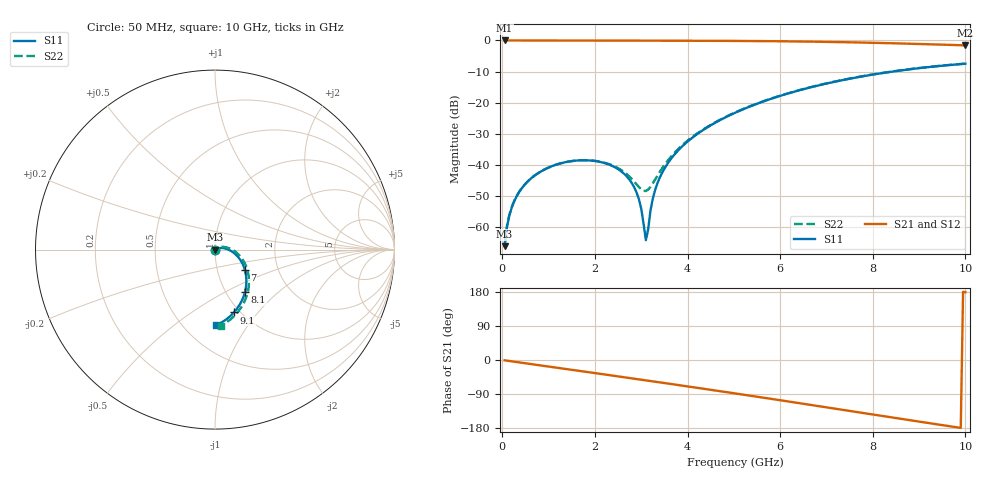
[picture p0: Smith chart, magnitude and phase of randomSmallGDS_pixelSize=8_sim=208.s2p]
! freq	dB(S11)	phase(S11)	dB(S12)	phase(S12)
!  dB(S21)	phase(S21)	dB(S22)	phase(S22)
!S-par simulation data
#  GHz  S  DB  R 50
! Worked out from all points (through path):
!   200 points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, 50 MHz to 10 GHz, reference 50 ohm
!   highest |S21| = 0.00 dB at 50 MHz (marker M1); lowest = -1.6 dB at 10 GHz (marker M2)
!   group delay of S21, straight-line fit = 50.5 ps
!   lowest |S11| = -66.2 dB at 50 MHz (marker M3), VSWR 1.00, Z = 50 - j0.049 ohm
!   |S11| at or under -10 dB: start of sweep to 8.432 GHz
!   |S22| runs from -65.7 to -7.4 dB; largest |S21 - S12| = 0
!   S11 on the Smith chart (normalised r, x): 50 MHz: 1.00, -0.00; 7 GHz: 1.36, -0.32; 8.1 GHz: 1.22, -0.63; 9.1 GHz: 0.94, -0.76; 10 GHz: 0.70, -0.72
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0.05  -66.20 -88.4  -0.00 -0.9  -0.00 -0.9  -65.68 -88.0
0.1  -60.08 -91.4  -0.00 -1.7  -0.00 -1.7  -59.70 -90.9
0.2  -53.97 -93.9  -0.00 -3.5  -0.00 -3.5  -53.77 -93.9
0.5  -46.15 -99.3  -0.01 -8.7  -0.01 -8.7  -46.10 -100.3
1.05  -40.58 -109.2  -0.02 -18.2  -0.02 -18.2  -40.57 -111.6
1.75  -38.55 -121.9  -0.03 -30.2  -0.03 -30.2  -38.52 -127.1
2.35  -40.22 -133.1  -0.04 -40.6  -0.04 -40.6  -40.03 -144.4
2.75  -44.88 -141.7  -0.05 -47.6  -0.05 -47.6  -43.88 -166.3
2.95  -51.09 -149.2  -0.06 -51.1  -0.06 -51.1  -47.17 166.5
3  -54.11 -153.6  -0.06 -52.0  -0.06 -52.0  -47.91 155.2
3.1  -64.28 133.9  -0.06 -53.7  -0.06 -53.7  -48.44 127.2
3.25  -50.89 40.8  -0.06 -56.3  -0.06 -56.3  -45.98 88.1
3.4  -44.15 33.9  -0.07 -59.0  -0.07 -59.0  -42.29 65.9
3.65  -37.95 27.8  -0.08 -63.4  -0.08 -63.4  -37.26 47.8
4  -32.55 20.9  -0.09 -69.6  -0.09 -69.6  -32.24 34.2
5.05  -23.11 1.5  -0.15 -88.6  -0.15 -88.6  -23.01 8.8
6.7  -14.92 -28.9  -0.39 -119.2  -0.39 -119.2  -14.87 -24.1
7  -13.87 -34.5  -0.45 -124.9  -0.45 -124.9  -13.81 -29.8
8.1  -10.74 -54.9  -0.78 -145.7  -0.78 -145.7  -10.69 -50.7
8.35  -10.18 -59.6  -0.87 -150.4  -0.87 -150.4  -10.13 -55.4
9.1  -8.74 -73.2  -1.17 -164.4  -1.17 -164.4  -8.69 -69.2
10  -7.49 -89.3  -1.58 179.0  -1.58 179.0  -7.44 -85.2
